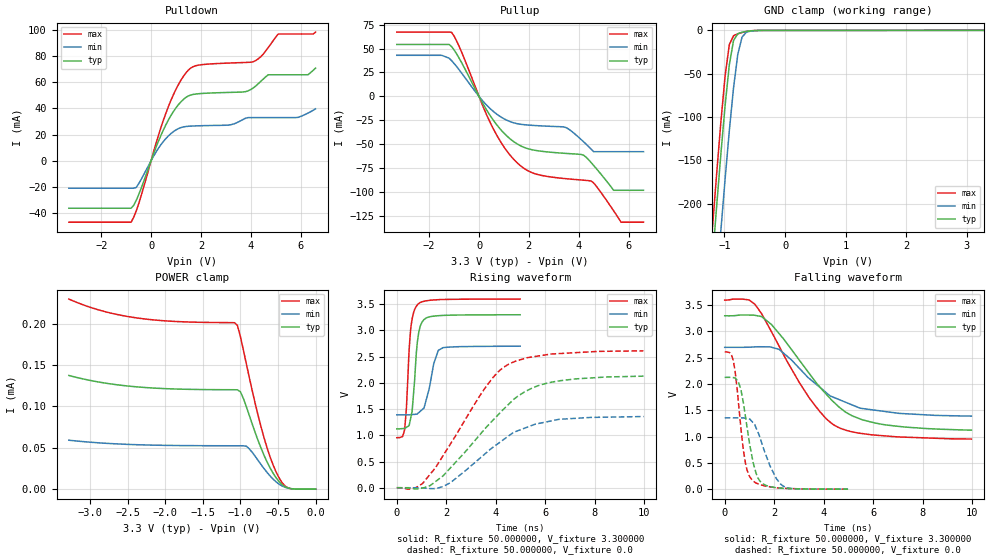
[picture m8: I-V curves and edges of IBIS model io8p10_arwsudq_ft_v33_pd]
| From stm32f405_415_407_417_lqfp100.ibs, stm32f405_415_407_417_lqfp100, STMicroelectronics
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|   Model io8p10_arwsudq_ft_v33_pd
[Model]  io8p10_arwsudq_ft_v33_pd
Model_type I/O
Polarity   Non-Inverting
Enable   Active-Low
Vinl =   0.990000V
Vinh =   2.310000V
Vmeas =  1.650000V
Cref =   40.000000pF
Rref =   100.000000M
Vref =   0.0V
C_comp   2.911600pF   2.823500pF   2.988000pF
[Temperature Range]   25.000000   0.125000k   -40.000000
[Pullup Reference]   3.300000V   2.700000V   3.600000V
[Pulldown Reference]   0.0V   0.0V   0.0V
[POWER Clamp Reference]   3.300000V   2.700000V   3.600000V
[GND Clamp Reference]   0.0V   0.0V   0.0V
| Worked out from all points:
|   slope of the pulldown table from 0 to 0.495 V, typ, clamps not added: 20.9 ohm
|   slope of the pullup table from 0 to 0.495 V, typ, clamps not added: 22.6 ohm
|   GND clamp passes 1 mA (typ) near -0.62 V on its own axis
|   rising waveform, R_fixture 50.000000, V_fixture 3.300000: 20-80 % time 220ps typ, 370ps min, 189ps max; typ from 1.12 V to 3.3 V
|   rising waveform, R_fixture 50.000000, V_fixture 0.0: 20-80 % time 2.51ns typ, 2.25ns min, 2.11ns max; typ from 0 V to 2.13 V
|   falling waveform, R_fixture 50.000000, V_fixture 3.300000: 20-80 % time 2.26ns typ, 2.15ns min, 2.03ns max; typ from 3.3 V to 1.12 V
|   falling waveform, R_fixture 50.000000, V_fixture 0.0: 20-80 % time 464ps typ, 672ps min, 371ps max; typ from 2.13 V to 0 V
[Pulldown]
|Voltage   I(typ)   I(min)   I(max)
-3.3V     -36.38mA   -21.07mA   -47.08mA
-800mV    -36.38mA   -21.07mA   -47.08mA
-600mV    -30.5mA    -20.54mA   -38.69mA
700mV     31.4mA     19.11mA    41.71mA
1.2V      45.15mA    25.37mA    61.75mA
1.6V      50.35mA    26.5mA     71.06mA
3.1V      52.27mA    27.26mA    74.75mA
4.1V      55.7mA     33.02mA    75.8mA
4.7V      65.79mA    33.02mA    86.63mA
5.1V      65.79mA    33.02mA    97.02mA
6.3V      65.87mA    36.5mA     97.02mA
6.6V      70.92mA    39.71mA    98.48mA
[Pullup]
|Voltage   I(typ)   I(min)   I(max)
-3.3V     54.2mA     42.91mA    67.13mA
-1.5V     54.2mA     42.91mA    67.13mA
-1.1V     51.97mA    37.28mA    66.86mA
500mV     -22.07mA   -14mA      -30.03mA
1.5V      -49.1mA    -28.3mA    -68.56mA
2.2V      -56.04mA   -30.32mA   -80.35mA
3.5V      -59.53mA   -32.66mA   -85.92mA
4.2V      -61.45mA   -47.47mA   -87.46mA
4.5V      -69.1mA    -55.02mA   -88.4mA
5.4V      -98mA      -57.7mA    -119.3mA
5.7V      -98mA      -57.7mA    -131.3mA
6.6V      -98mA      -57.7mA    -131.3mA
[GND_clamp]
|Voltage   I(typ)   I(min)   I(max)
-3.3V     -2.32A     -2.397A    -2.297A
-1.2V     -266.4mA   -356.3mA   -229.4mA
-1.13V    -203.6mA   -293.1mA   -166.3mA
-1.06V    -143.2mA   -231.4mA   -106.2mA
-990mV    -86.95mA   -171.8mA   -52.65mA
-920mV    -39.66mA   -115.8mA   -16.37mA
-850mV    -11.5mA    -65.84mA   -6.125mA
-780mV    -3.846mA   -27.59mA   -3.894mA
-710mV    -2.102mA   -7.761mA   -2.396mA
-640mV    -1.159mA   -2.138mA   -1.234mA
-570mV    -535.1uA   -809uA     -490.2uA
3.28V     81.28uA    57.87uA    93.98uA
[POWER_clamp]
|Voltage   I(typ)   I(min)   I(max)
-3.28V    137.3uA    59.14uA    229.6uA
-2.36V    123.4uA    53.65uA    206.6uA
-1.08V    120.1uA    52.41uA    201.1uA
-1.04V    120uA      52.41uA    198uA
-1V       117.7uA    52.4uA     184.5uA
-920mV    99.46uA    51.91uA    151.2uA
-720mV    48.42uA    29.12uA    73.51uA
-600mV    24.82uA    15.47uA    37.72uA
-520mV    13.1uA     8.45uA     19.84uA
-440mV    5.058uA    3.61uA     7.276uA
-360mV    1.193uA    1.129uA    1.311uA
0V        0A         0A         0A
[Ramp]
| variable   typ   min   max
dV/dt_r  1.26876/2.51669n   0.81150/2.25931n   1.56516/2.12126n
dV/dt_f  1.28508/2.25366n   0.77856/2.15032n   1.57558/2.03137n
R_load = 50.000000
[Rising Waveform]
R_fixture= 50.000000
V_fixture= 3.300000
V_fixture_min= 2.700000
V_fixture_max= 3.600000
|time   V(typ)   V(min)   V(max)
0s        1.123V     1.391V     953.8mV
320.3ps   1.132V     1.39V      1.12V
390.4ps   1.152V     1.39V      1.528V
500.5ps   1.186V     1.39V      2.64V
620.6ps   1.464V     1.395V     3.218V
850.9ps   2.842V     1.417V     3.497V
1.101ns   3.207V     1.521V     3.556V
1.491ns   3.272V     2.362V     3.581V
1.682ns   3.281V     2.621V     3.586V
4.985ns   3.299V     2.699V     3.598V
[Rising Waveform]
R_fixture= 50.000000
V_fixture= 0.0
V_fixture_min= 0.0
V_fixture_max= 0.0
|time   V(typ)   V(min)   V(max)
0s        198.7uV    84.69uV    714.9uV
560.6ps   -10.43mV   -60.37uV   -21.76mV
1.041ns   -5.662mV   -4.935mV   80.91mV
1.361ns   45.49mV    -16.25mV   265.1mV
2.182ns   385.7mV    100.6mV    844.8mV
3.604ns   1.147V     661.6mV    1.926V
4.464ns   1.566V     969.2mV    2.34V
5.185ns   1.833V     1.139V     2.467V
6.186ns   2.006V     1.269V     2.546V
9.97ns    2.127V     1.358V     2.611V
[Falling Waveform]
R_fixture= 50.000000
V_fixture= 3.300000
V_fixture_min= 2.700000
V_fixture_max= 3.600000
|time   V(typ)   V(min)   V(max)
0s        3.299V     2.699V     3.598V
981ps     3.313V     2.701V     3.601V
1.221ns   3.307V     2.707V     3.518V
1.502ns   3.28V      2.709V     3.331V
2.202ns   2.958V     2.658V     2.718V
3.443ns   2.185V     2.095V     1.719V
4.525ns   1.604V     1.723V     1.192V
5.165ns   1.392V     1.6V       1.089V
6.386ns   1.231V     1.483V     1.017V
9.97ns    1.123V     1.391V     953.8mV
[Falling Waveform]
R_fixture= 50.000000
V_fixture= 0.0
V_fixture_min= 0.0
V_fixture_max= 0.0
|time   V(typ)   V(min)   V(max)
0s        2.127V     1.358V     2.611V
340.3ps   2.124V     1.357V     2.459V
560.6ps   2.031V     1.357V     1.627V
680.7ps   1.832V     1.356V     1.043V
840.8ps   1.374V     1.349V     491.3mV
1.091ns   649.2mV    1.294V     184.4mV
1.451ns   140.9mV    943.6mV    83.59mV
1.832ns   48.53mV    440.9mV    44.37mV
2.362ns   16.82mV    59.14mV    17.8mV
4.985ns   198.7uV    84.69uV    714.9uV
